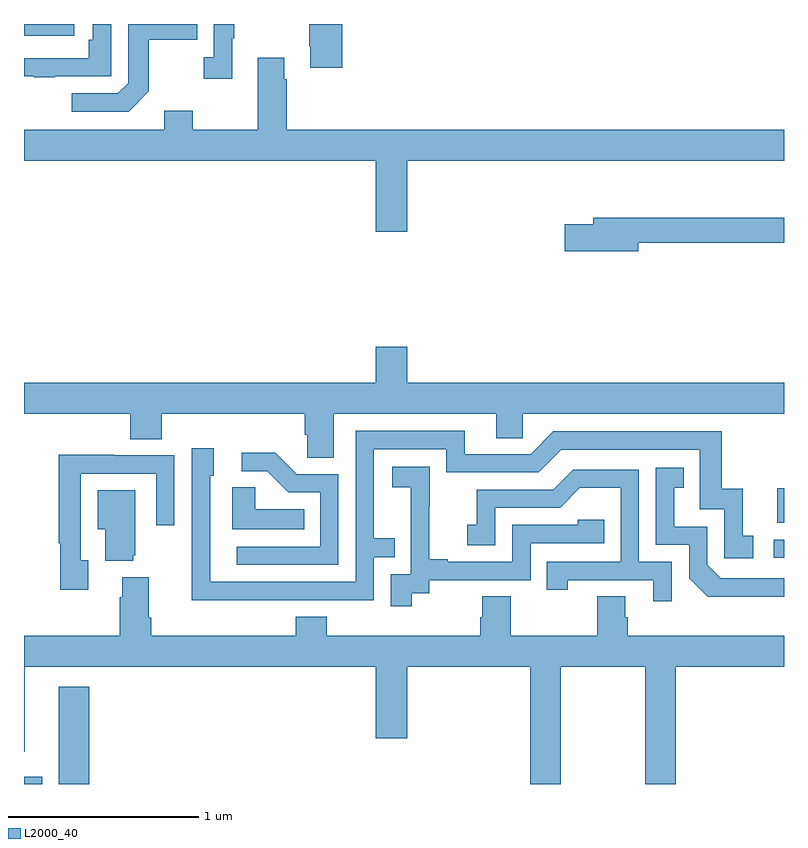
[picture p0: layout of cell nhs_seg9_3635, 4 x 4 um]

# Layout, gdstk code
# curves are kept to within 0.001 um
import gdstk
lib = gdstk.Library(unit=1e-6, precision=1e-09)
def R(c, l, rs):  # rectangles x0, y0, x1, y1
    for r in rs: c.add(gdstk.rectangle(r[:2], r[2:], *l))
def P(c, l, *ps):  # polygons
    for p in ps: c.add(gdstk.Polygon(p, *l))
L2000_40 = (2000, 40)

nhs_seg9_3635 = lib.new_cell('nhs_seg9_3635')
R(nhs_seg9_3635, L2000_40, [(319,1166.5,319.095,1166.539), (319.184,1166.5,319.343,1167.013), (322.947,1167.69,323,1167.786), (322.964,1167.875,323,1168.057), (319,1170.438,319.264,1170.5)])
P(nhs_seg9_3635, L2000_40, [(320.095,1170.425),(320.107,1170.425),(320.107,1170.5),(319.998,1170.5),(319.998,1170.326),(319.947,1170.326),(319.947,1170.213),(320.095,1170.213)],
  [(319.163,1170.225),(319.458,1170.225),(319.458,1170.5),(319.362,1170.5),(319.362,1170.418),(319.342,1170.418),(319.342,1170.321),(319,1170.321),(319,1170.225),(319.051,1170.225),(319.051,1170.22),(319.163,1170.22)],
  [(319.657,1170.145),(319.657,1170.418),(319.913,1170.418),(319.913,1170.5),(319.548,1170.5),(319.548,1170.189),(319.494,1170.135),(319.251,1170.135),(319.251,1170.039),(319.551,1170.039)],
  [(320.675,1170.5),(320.5,1170.5),(320.5,1170.382),(320.507,1170.382),(320.507,1170.27),(320.675,1170.27)],
  [(321.016,1169.78),(323,1169.78),(323,1169.944),(320.384,1169.944),(320.384,1170.209),(320.371,1170.209),(320.371,1170.322),(320.231,1170.322),(320.231,1169.944),(319.887,1169.944),(319.887,1170.043),(319.739,1170.043),(319.739,1169.944),(319,1169.944),(319,1169.78),(320.852,1169.78),(320.852,1169.406),(321.016,1169.406)],
  [(322.234,1169.35),(323,1169.35),(323,1169.479),(321.995,1169.479),(321.995,1169.445),(321.846,1169.445),(321.846,1169.303),(322.234,1169.303)],
  [(320.629,1168.448),(321.485,1168.448),(321.485,1168.321),(321.624,1168.321),(321.624,1168.448),(323,1168.448),(323,1168.612),(321.016,1168.612),(321.016,1168.801),(320.852,1168.801),(320.852,1168.612),(319,1168.612),(319,1168.448),(319.559,1168.448),(319.559,1168.315),(319.724,1168.315),(319.724,1168.448),(320.477,1168.448),(320.477,1168.339),(320.49,1168.339),(320.49,1168.216),(320.629,1168.216)],
  [(320.345,1167.468),(320.841,1167.468),(320.841,1167.693),(320.951,1167.693),(320.951,1167.794),(320.841,1167.794),(320.841,1168.263),(321.222,1168.263),(321.222,1168.14),(321.708,1168.14),(321.828,1168.26),(322.557,1168.26),(322.557,1167.945),(322.686,1167.945),(322.686,1167.687),(322.837,1167.687),(322.837,1167.807),(322.784,1167.807),(322.784,1168.054),(322.673,1168.054),(322.673,1168.356),(321.786,1168.356),(321.666,1168.236),(321.319,1168.236),(321.319,1168.359),(320.745,1168.359),(320.745,1167.564),(319.98,1167.564),(319.98,1168.122),(319.999,1168.122),(319.999,1168.267),(319.884,1168.267),(319.884,1167.773),(319.882,1167.773),(319.882,1167.467)],
  [(320.655,1168.131),(320.436,1168.131),(320.323,1168.244),(320.145,1168.244),(320.145,1168.146),(320.279,1168.146),(320.39,1168.035),(320.559,1168.035),(320.559,1167.75),(320.121,1167.75),(320.121,1167.654),(320.655,1167.654)],
  [(319.339,1167.678),(319.299,1167.678),(319.299,1168.134),(319.695,1168.134),(319.695,1167.861),(319.791,1167.861),(319.791,1168.23),(319.475,1168.23),(319.475,1168.232),(319.183,1168.232),(319.183,1167.766),(319.191,1167.766),(319.191,1167.522),(319.339,1167.522)],
  [(321.04,1167.505),(321.132,1167.505),(321.132,1167.573),(321.666,1167.573),(321.666,1167.768),(322.055,1167.768),(322.055,1167.891),(321.915,1167.891),(321.915,1167.864),(321.57,1167.864),(321.57,1167.669),(321.229,1167.669),(321.229,1167.682),(321.134,1167.682),(321.134,1167.965),(321.135,1167.965),(321.135,1168.171),(320.937,1168.171),(320.937,1168.061),(321.035,1168.061),(321.035,1167.833),(321.036,1167.833),(321.036,1167.603),(320.931,1167.603),(320.931,1167.435),(321.04,1167.435)],
  [(323,1167.582),(322.668,1167.582),(322.596,1167.654),(322.596,1167.855),(322.423,1167.855),(322.423,1168.059),(322.472,1168.059),(322.472,1168.165),(322.326,1168.165),(322.326,1167.759),(322.5,1167.759),(322.5,1167.582),(322.598,1167.485),(323,1167.485)],
  [(322.41,1167.669),(322.236,1167.669),(322.236,1168.155),(321.89,1168.155),(321.785,1168.05),(321.382,1168.05),(321.382,1167.865),(321.333,1167.865),(321.333,1167.756),(321.48,1167.756),(321.48,1167.954),(321.822,1167.954),(321.926,1168.058),(322.14,1168.058),(322.14,1167.669),(321.751,1167.669),(321.751,1167.522),(321.862,1167.522),(321.862,1167.573),(322.313,1167.573),(322.313,1167.462),(322.41,1167.462)],
  [(320.474,1167.946),(320.217,1167.946),(320.217,1168.061),(320.096,1168.061),(320.096,1167.842),(320.474,1167.842)],
  [(319.574,1167.705),(319.585,1167.705),(319.585,1168.045),(319.388,1168.045),(319.388,1167.842),(319.427,1167.842),(319.427,1167.674),(319.574,1167.674)],
  [(321.825,1167.116),(322.27,1167.116),(322.27,1166.5),(322.43,1166.5),(322.43,1167.116),(323,1167.116),(323,1167.28),(322.178,1167.28),(322.178,1167.378),(322.165,1167.378),(322.165,1167.488),(322.018,1167.488),(322.018,1167.28),(321.561,1167.28),(321.561,1167.488),(321.413,1167.488),(321.413,1167.378),(321.401,1167.378),(321.401,1167.28),(320.594,1167.28),(320.594,1167.379),(320.429,1167.379),(320.429,1167.28),(319.67,1167.28),(319.67,1167.376),(319.657,1167.376),(319.657,1167.589),(319.517,1167.589),(319.517,1167.482),(319.505,1167.482),(319.505,1167.28),(319,1167.28),(319,1166.67),(319.004,1166.67),(319.004,1167.116),(320.852,1167.116),(320.852,1166.742),(321.016,1166.742),(321.016,1167.116),(321.665,1167.116),(321.665,1166.5),(321.825,1166.5)])

lib.write_gds('nhs_seg9_3635.gds')
